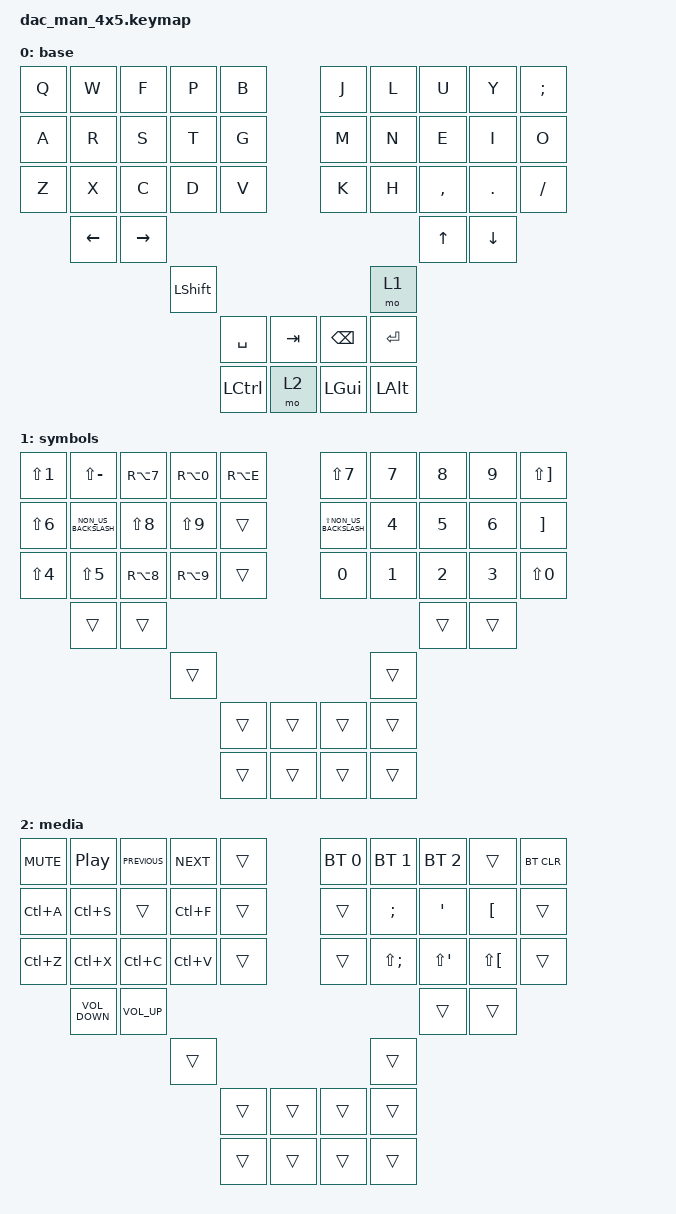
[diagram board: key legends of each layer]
#include <behaviors.dtsi>
#include <dt-bindings/zmk/bt.h>
#include <dt-bindings/zmk/keys.h>

#define DEFAULT 0

/ {
    keymap {
        compatible = "zmk,keymap";

        base {
            bindings = <
&kp Q  &kp W           &kp F            &kp P           &kp B                             &kp J         &kp L  &kp U         &kp Y           &kp SEMICOLON
&kp A  &kp R           &kp S            &kp T           &kp G                             &kp M         &kp N  &kp E         &kp I           &kp O
&kp Z  &kp X           &kp C            &kp D           &kp V                             &kp K         &kp H  &kp COMMA     &kp DOT         &kp FSLH
       &kp LEFT_ARROW  &kp RIGHT_ARROW                                                                         &kp UP_ARROW  &kp DOWN_ARROW
                                        &kp LEFT_SHIFT                                                  &mo 1
                                                        &kp SPACE  &kp TAB  &kp BSPC      &kp ENTER
                                                        &kp LCTRL  &mo 2    &kp LEFT_GUI  &kp LEFT_ALT
            >;
        };

        symbols {
            bindings = <
&kp LS(N1)        &kp LS(MINUS)         &kp RA(N7)  &kp RA(N0)  &kp RA(E)                  &kp LS(N7)                &kp N7  &kp N8  &kp N9        &kp LS(RIGHT_BRACKET)
&kp LS(NUMBER_6)  &kp NON_US_BACKSLASH  &kp LS(N8)  &kp LS(N9)  &trans                     &kp LS(NON_US_BACKSLASH)  &kp N4  &kp N5  &kp NUMBER_6  &kp RIGHT_BRACKET
&kp LS(N4)        &kp LS(N5)            &kp RA(N8)  &kp RA(N9)  &trans                     &kp N0                    &kp N1  &kp N2  &kp N3        &kp LS(N0)
                  &trans                &trans                                                                               &trans  &trans
                                                    &trans                                                           &trans
                                                                &trans     &trans  &trans  &trans
                                                                &trans     &trans  &trans  &trans
            >;
        };

        media {
            bindings = <
&kp K_MUTE  &kp C_PLAY_PAUSE   &kp C_PREVIOUS   &kp C_NEXT  &trans                  &bt BT_SEL 0  &bt BT_SEL 1  &bt BT_SEL 2          &trans                &bt BT_CLR
&kp LC(A)   &kp LC(S)          &trans           &kp LC(F)   &trans                  &trans        &kp SEMI      &kp SINGLE_QUOTE      &kp LEFT_BRACKET      &trans
&kp LC(Z)   &kp LC(X)          &kp LC(C)        &kp LC(V)   &trans                  &trans        &kp LS(SEMI)  &kp LS(SINGLE_QUOTE)  &kp LS(LEFT_BRACKET)  &trans
            &kp C_VOLUME_DOWN  &kp C_VOLUME_UP                                                                  &trans                &trans
                                                &trans                                            &trans
                                                            &trans  &trans  &trans  &trans
                                                            &trans  &trans  &trans  &trans
            >;
        };
    };
};
